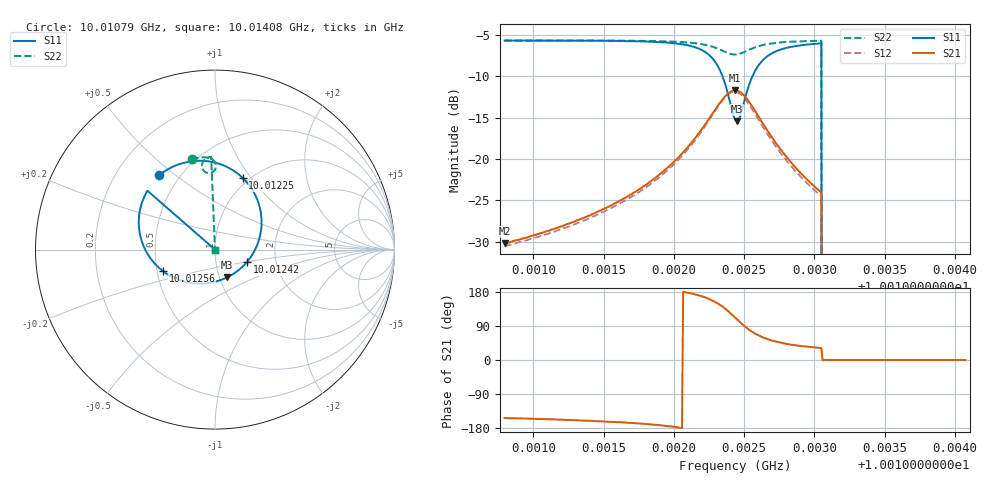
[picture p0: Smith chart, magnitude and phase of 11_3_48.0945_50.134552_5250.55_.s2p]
#  HZ  S  RI  R  50.00
! Rohde & Schwarz Vector Network Analyzer
! Rohde-Schwarz,ZNB20-2Port,1311601062101988,3.16
! Created: UTC 12/23/2023, 3:35:40 AM
! freq[Hz]  re:S11  im:S11  re:S21  im:S21  re:S12  im:S12  re:S22  im:S22
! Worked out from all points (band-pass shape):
!   401 points, 10.01079 GHz to 10.01408 GHz, reference 50 ohm
!   highest |S21| = -11.71 dB at 10.01244 GHz (marker M1); lowest = -30.2 dB at 10.01079 GHz (marker M2)
!   |S21| within 3 dB of the highest: 10.01227 GHz to 10.0126 GHz (330 kHz wide, 0.0033 % of centre)
!   lowest |S11| = -15.4 dB at 10.01245 GHz (marker M3), VSWR 1.41, Z = 54.5 - j17.3 ohm
!   |S11| at or under -10 dB: 10.01235 GHz to 10.01256 GHz (213.7 kHz wide, 0.00213 % of centre); 10.01305 GHz to end of sweep
!   |S22| runs from - to -5.7 dB; largest |S21 - S12| = 0.012
!   S11 on the Smith chart (normalised r, x): 10.01079 GHz: 0.39, +0.44; 10.01225 GHz: 0.93, +0.91; 10.01242 GHz: 1.41, -0.21; 10.01256 GHz: 0.54, -0.14; 10.01408 GHz: 1.00, +0.00
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1.0010795e10  -0.3135 0.4138  -0.0276 -0.014  -0.0257 -0.0151  -0.1308 0.5032
1.0011344e10  -0.255 0.4516  -0.041 -0.0151  -0.0386 -0.0167  -0.0922 0.5116
1.0011648e10  -0.2018 0.4751  -0.056 -0.0152  -0.0531 -0.0172  -0.068 0.5139
1.0011894e10  -0.1275 0.4927  -0.0794 -0.0114  -0.0758 -0.0151  -0.0448 0.5132
1.0012124e10  0.0146 0.4808  -0.1247 0.00929  -0.1214 0.00266  -0.0163 0.5037
1.0012247e10  0.1544 0.3991  -0.1643 0.0541  -0.1634 0.0439  0.00113 0.4845
1.0012304e10  0.227 0.2985  -0.1787 0.099  -0.1807 0.0874  0.00556 0.4676
1.0012353e10  0.2595 0.1591  -0.1761 0.1524  -0.1796 0.1437  0.00155 0.4483
1.0012386e10  0.2421 0.0446  -0.1571 0.1928  -0.1621 0.1842  -0.00769 0.4361
1.0012419e10  0.1772 -0.0702  -0.1208 0.2285  -0.1267 0.2206  -0.0223 0.428
1.0012435e10  0.127 -0.1181  -0.0972 0.2408  -0.1025 0.2337  -0.0314 0.4265
1.0012452e10  0.0684 -0.1547  -0.0722 0.2482  -0.0767 0.2415  -0.0405 0.4269
1.0012501e10  -0.1187 -0.1879  -0.000608 0.2416  -0.00467 0.2344  -0.0619 0.4385
1.0012558e10  -0.2904 -0.1195  0.0567 0.1998  0.0495 0.1935  -0.0726 0.46
1.0012616e10  -0.3799 -0.017  0.0795 0.1545  0.0719 0.1496  -0.0715 0.4785
1.001269e10  -0.4201 0.0959  0.0846 0.1097  0.077 0.1073  -0.0634 0.4941
1.0012821e10  -0.4175 0.2227  0.0739 0.0651  0.0676 0.0648  -0.0465 0.5086
1.0012985e10  -0.3885 0.3063  0.0587 0.0389  0.054 0.0394  -0.0282 0.5162
1.0013034e10  -0.3795 0.3231  0.0547 0.0343  0.0504 0.0349  -0.0232 0.5175
1.0013075e10  0 0  0 0  0 0  0 0
1.0013534e10  0 0  0 0  0 0  0 0
1.0014076e10  0 0  0 0  0 0  0 0
